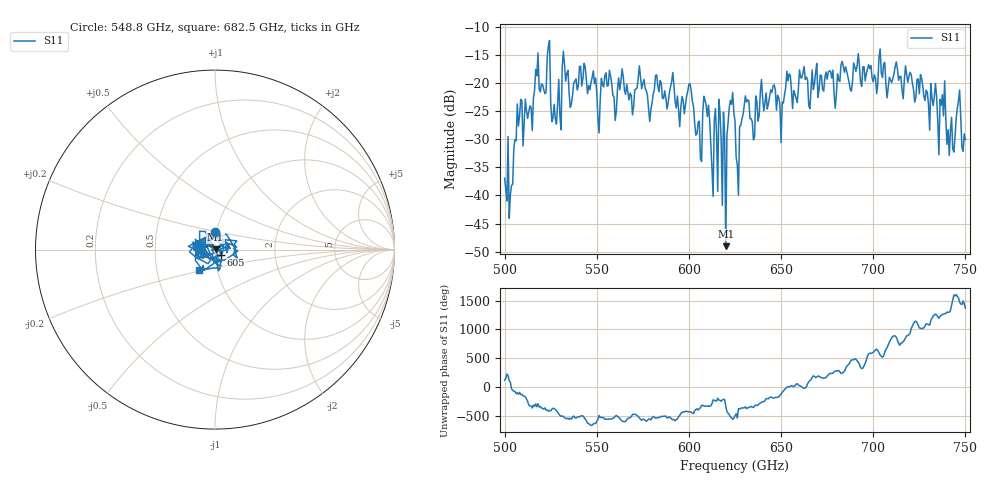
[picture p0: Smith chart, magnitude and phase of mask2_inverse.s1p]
!Created with skrf (http://scikit-rf.org).
# GHz S MA R 50.0
!freq magS11 angS11
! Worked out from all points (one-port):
!   401 points, 500 GHz to 750 GHz, reference 50 ohm
!   lowest |S11| = -49.0 dB at 620 GHz (marker M1), VSWR 1.01, Z = 50.3 + j0.146 ohm
!   |S11| at or under -10 dB: start of sweep to end of sweep
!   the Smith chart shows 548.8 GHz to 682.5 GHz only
!   S11 on the Smith chart (normalised r, x): 548.8 GHz: 0.98, +0.20; 605 GHz: 1.07, -0.06; 682.5 GHz: 0.82, -0.19
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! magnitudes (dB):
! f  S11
! 500 GHz  -37.0
! 503.8 GHz  -38.2
! 508.1 GHz  -25.9
! 516.9 GHz  -17.6
! 523.8 GHz  -13.4
! 526.9 GHz  -23.8
! 531.2 GHz  -17.2
! 548.8 GHz  -20.1
! 562.5 GHz  -21.2
! 593.8 GHz  -22.3
! 600.6 GHz  -20.2
! 605 GHz  -27.1
! 609.4 GHz  -24.1
! 612.5 GHz  -35.3
! 620 GHz  -49.0
! 622.5 GHz  -23.1
! 625 GHz  -26.7
! 626.9 GHz  -39.9
! 631.2 GHz  -23.4
! 634.4 GHz  -26.9
! 656.2 GHz  -24.6
! 682.5 GHz  -16.8
! 687.5 GHz  -21.1
! 718.8 GHz  -19.9
! 737.5 GHz  -22.1
! 742.5 GHz  -26.1
! 746.2 GHz  -23.2
! 750 GHz  -30.0
